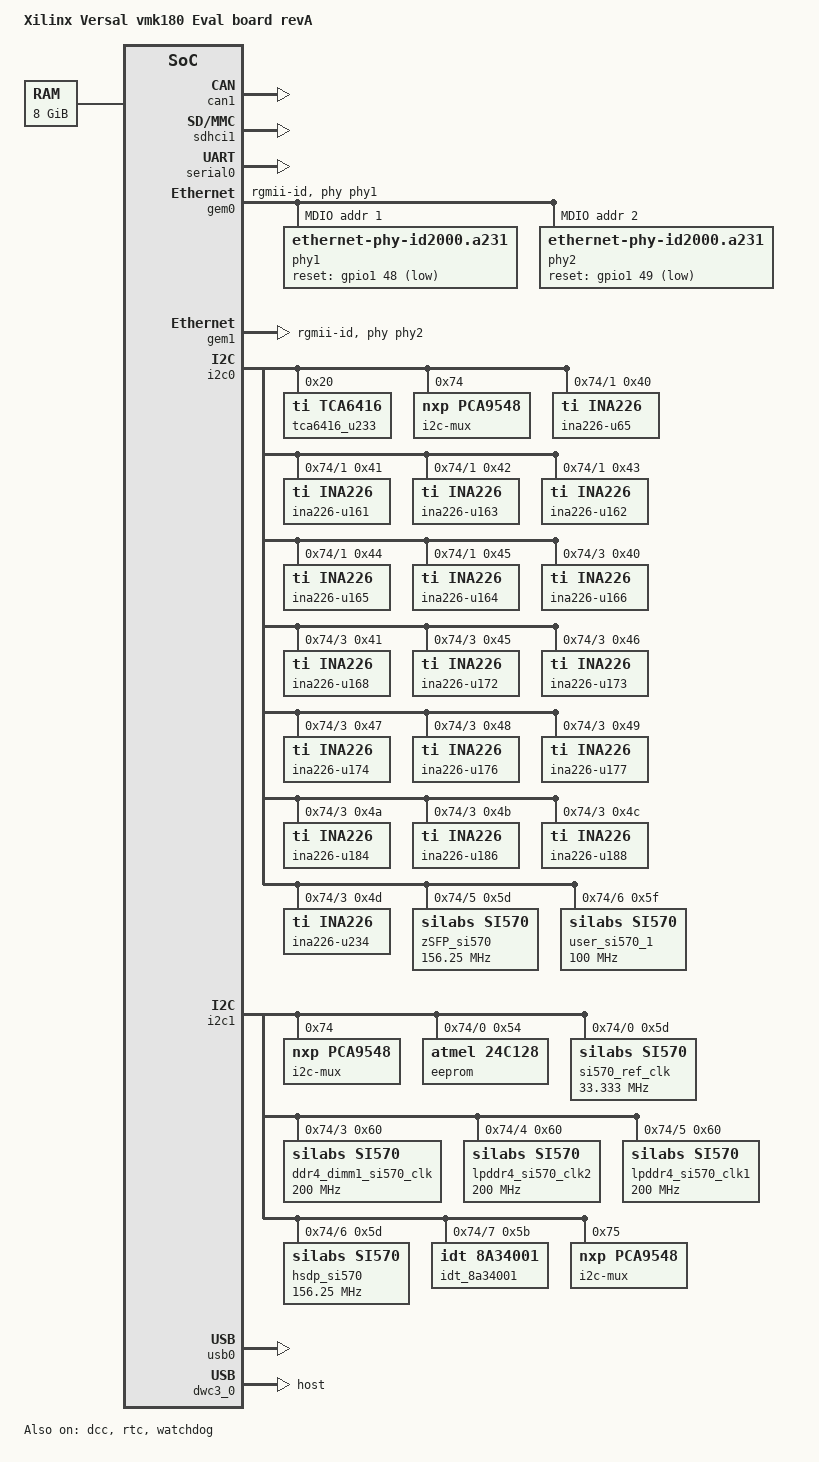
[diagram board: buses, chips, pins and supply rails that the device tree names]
// SPDX-License-Identifier: GPL-2.0
/*
 * dts file for Xilinx Versal vmk180 revA
 *
 * (C) Copyright 2019, Xilinx, Inc.
 *
 * Michal Simek <michal.simek@xilinx.com>
 */

#include <dt-bindings/gpio/gpio.h>
#include "versal.dtsi"
#include "versal-clk.dtsi"

/ {
	compatible = "xlnx,versal-vmk180-revA", "xlnx,versal";
	model = "Xilinx Versal vmk180 Eval board revA";

	memory: memory@0 {
		device_type = "memory";
		reg = <0 0 0 0x80000000>, <0x8 0x0 0x1 0x80000000>;
	};

	chosen {
		bootargs = "console=ttyAMA0 earlycon=pl011,mmio32,0xFF000000,115200n8 clk_ignore_unused";
		stdout-path = "serial0:115200";
	};

	aliases {
		serial0 = &serial0;
		serial2 = &dcc;
		ethernet0 = &gem0;
		ethernet1 = &gem1;
		i2c0 = &i2c0;
		i2c1 = &i2c1;
		mmc0 = &sdhci1;
		spi0 = &qspi;
		usb0 = &usb0;
		rtc0 = &rtc;
	};
};

/* PMC_MIO 0 -12 - configuration header QSPI/OSPI/EMMC */
/* FIXME PMC_MIO37 ZU4_TRIGGER/PMC_MIO37/38 PCIE */

&can1 { /* MIO40-41 */
	status = "okay";
};

&dcc {
	status = "okay";
};

&rtc {
	status = "okay";
};

&gpio0 {
	status = "okay";
};

&gpio1 {
	status = "okay";
};

&watchdog {
	status = "okay";
};

&sdhci1 { /* PMC_MIO26-36/51 */
	status = "okay";
	xlnx,mio-bank = <1>;
	no-1-8-v;
};

&serial0 { /* PMC_MIO42/43 */
	status = "okay";
};

&gem0 { /* PMC_MIO_48, LPD_MIO0-11/24/25 */
	status = "okay";
	phy-handle = <&phy1>; /* u198 */
	phy-mode = "rgmii-id";
	mdio: mdio {
		#address-cells = <1>;
		#size-cells = <0>;

		phy1: ethernet-phy@1 { /* u198 */
			#phy-cells = <1>;
			compatible = "ethernet-phy-id2000.a231";
			reg = <1>;
			ti,rx-internal-delay = <0xb>;
			ti,tx-internal-delay = <0xa>;
			ti,fifo-depth = <1>;
			ti,dp83867-rxctrl-strap-quirk;
			reset-assert-us = <100>;
			reset-deassert-us = <280>;
			reset-gpios = <&gpio1 48 GPIO_ACTIVE_LOW>;
		};
		phy2: ethernet-phy@2 { /* u134 */
			#phy-cells = <1>;
			compatible = "ethernet-phy-id2000.a231";
			reg = <2>;
			ti,rx-internal-delay = <0xb>;
			ti,tx-internal-delay = <0xa>;
			ti,fifo-depth = <1>;
			ti,dp83867-rxctrl-strap-quirk;
			reset-assert-us = <100>;
			reset-deassert-us = <280>;
			reset-gpios = <&gpio1 49 GPIO_ACTIVE_LOW>;
		};
	};
};

&gem1 { /* PMC_MIO_49, LPD_MIO12-23 */
	status = "okay";
	phy-handle = <&phy2>; /* u134 */
	phy-mode = "rgmii-id";
};

&i2c0 { /* PMC_MIO46/47 */
	status = "okay";

	tca6416_u233: gpio@20 {
		compatible = "ti,tca6416";
		reg = <0x20>;
		gpio-controller; /* IRQ not connected */
		#gpio-cells = <2>;
		gpio-line-names = "MAX6643_OT_B", "MAX6643_FANFAIL_B", "", "", "PMBUS2_INA226_ALERT", "", "",
				"MAX6643_FULLSPD", "FMCP1_FMC_PRSNT_M2C_B", "FMCP2_FMC_PRSNT_M2C_B",
				"FMCP1_FMCP_PRSNT_M2C_B", "FMCP2_FMCP_PRSNT_M2C_B", "VCCINT_VRHOT_B",
				"8A34001_EXP_RST_B", "PMBUS_ALERT", "PMBUS1_INA226_ALERT";
	};

	i2c-mux@74 {
		compatible = "nxp,pca9548"; /* u33 */
		#address-cells = <1>;
		#size-cells = <0>;
		reg = <0x74>;

		i2c@0 {
			#address-cells = <1>;
			#size-cells = <0>;
			reg = <0>;
			/* PMBUS */
		};
		i2c@1 {
			#address-cells = <1>;
			#size-cells = <0>;
			reg = <1>;
			/* PMBUS1_INA226 */
			u65: ina226@40 { /* u65 */
				compatible = "ti,ina226";
				#io-channel-cells = <1>;
				label = "ina226-u65";
				reg = <0x40>;
				shunt-resistor = <500>; /* R440 */
			};
			u161: ina226@41 { /* u161 */
				compatible = "ti,ina226";
				#io-channel-cells = <1>;
				label = "ina226-u161";
				reg = <0x41>;
				shunt-resistor = <500>; /* R1702 */
			};
			u163: ina226@42 { /* u163 */
				compatible = "ti,ina226";
				#io-channel-cells = <1>;
				label = "ina226-u163";
				reg = <0x42>;
				shunt-resistor = <5000>; /* R1214 */
			};
			u162: ina226@43 { /* u162 */
				compatible = "ti,ina226";
				#io-channel-cells = <1>;
				label = "ina226-u162";
				reg = <0x43>;
				shunt-resistor = <5000>; /* R1221 */
			};
			u165: ina226@44 { /* u165 */
				compatible = "ti,ina226";
				#io-channel-cells = <1>;
				label = "ina226-u165";
				reg = <0x44>;
				shunt-resistor = <5000>; /* R1216 */
			};
			u164: ina226@45 { /* u164 */
				compatible = "ti,ina226";
				#io-channel-cells = <1>;
				label = "ina226-u164";
				reg = <0x45>;
				shunt-resistor = <5000>; /* R1219 */
			};
		};
		/* 2 unconnected */
		i2c@3 {
			#address-cells = <1>;
			#size-cells = <0>;
			reg = <3>;
			/* PMBUS2_INA226 */
			u166: ina226@40 { /* u166 */
				compatible = "ti,ina226";
				#io-channel-cells = <1>;
				label = "ina226-u166";
				reg = <0x40>;
				shunt-resistor = <5000>; /* R382 */
			};
			u168: ina226@41 { /* u168 */
				compatible = "ti,ina226";
				#io-channel-cells = <1>;
				label = "ina226-u168";
				reg = <0x41>;
				shunt-resistor = <5000>; /* R1246 */
			};
			u172: ina226@45 { /* u172 */
				compatible = "ti,ina226";
				#io-channel-cells = <1>;
				label = "ina226-u172";
				reg = <0x45>;
				shunt-resistor = <5000>; /* R1229 */
			};
			u173: ina226@46 { /* u173 */
				compatible = "ti,ina226";
				#io-channel-cells = <1>;
				label = "ina226-u173";
				reg = <0x46>;
				shunt-resistor = <5000>; /* R400 */
			};
			u174: ina226@47 { /* u174 */
				compatible = "ti,ina226";
				#io-channel-cells = <1>;
				label = "ina226-u174";
				reg = <0x47>;
				shunt-resistor = <5000>; /* R1232 */
			};
			u176: ina226@48 { /* u176 */
				compatible = "ti,ina226";
				#io-channel-cells = <1>;
				label = "ina226-u176";
				reg = <0x48>;
				shunt-resistor = <5000>; /* R1275 */
			};
			u177: ina226@49 { /* u177 */
				compatible = "ti,ina226";
				#io-channel-cells = <1>;
				label = "ina226-u177";
				reg = <0x49>;
				shunt-resistor = <5000>; /* R1286 */
			};
			u184: ina226@4a { /* u184 */
				compatible = "ti,ina226";
				#io-channel-cells = <1>;
				label = "ina226-u184";
				reg = <0x4a>;
				shunt-resistor = <2000>; /* R1350 */
			};
			u186: ina226@4b { /* u186 */
				compatible = "ti,ina226";
				#io-channel-cells = <1>;
				label = "ina226-u186";
				reg = <0x4b>;
				shunt-resistor = <2000>; /* R1367 */
			};
			u188: ina226@4c { /* u188 */
				compatible = "ti,ina226";
				#io-channel-cells = <1>;
				label = "ina226-u188";
				reg = <0x4c>;
				shunt-resistor = <2000>; /* R1384 */
			};
			u234: ina226@4d { /* u234 */
				compatible = "ti,ina226";
				#io-channel-cells = <1>;
				label = "ina226-u234";
				reg = <0x4d>;
				shunt-resistor = <5000>; /* R1679 */
			};
		};
		/* 4 unconnected */
		i2c@5 {
			#address-cells = <1>;
			#size-cells = <0>;
			reg = <5>;
			/* zSFP_SI570 */
			zSFP_si570: clock-generator@5d { /* zSFP SI570 - u192 */
				#clock-cells = <0>;
				compatible = "silabs,si570";
				reg = <0x5d>;
				temperature-stability = <50>;
				factory-fout = <156250000>;
				clock-frequency = <156250000>;
				clock-output-names = "zSFP_si570";
				silabs,skip-recall; /* Do not reset */
			};
		};
		i2c@6 {
			#address-cells = <1>;
			#size-cells = <0>;
			reg = <6>;
			/* USER_SI570_1_CLOCK */
			user_si570_1: clock-generator@5f { /* USER SI570 - u205 */
				#clock-cells = <0>;
				compatible = "silabs,si570";
				reg = <0x5f>;
				temperature-stability = <50>;
				factory-fout = <100000000>;
				clock-frequency = <100000000>;
				clock-output-names = "user_si570_1";
				silabs,skip-recall; /* Do not reset */
			};
		};
		/* 7 unconnected */
	};
};

&i2c1 { /* PMC_MIO44/45 */
	status = "okay";

	i2c-mux@74 { /* u35 */
		compatible = "nxp,pca9548";
		#address-cells = <1>;
		#size-cells = <0>;
		reg = <0x74>;
		i2c@0 {
			#address-cells = <1>;
			#size-cells = <0>;
			reg = <0>;
			eeprom: eeprom@54 { /* u34 */
				compatible = "atmel,24c128";
				reg = <0x54>;
			};
			/* SI570_REF_CLK */
			si570_ref_clk: clock-generator@5d { /* 33.333 MHz SI570 - u32 */
				#clock-cells = <0>;
				compatible = "silabs,si570";
				reg = <0x5d>;
				temperature-stability = <50>;
				factory-fout = <33333333>;
				clock-frequency = <33333333>;
				clock-output-names = "si570_ref_clk";
				silabs,skip-recall; /* Do not reset */
			};
		};
		i2c@1 {
			#address-cells = <1>;
			#size-cells = <0>;
			reg = <1>;
			/* FMCP1_IIC */
		};
		i2c@2 {
			#address-cells = <1>;
			#size-cells = <0>;
			reg = <2>;
			/* FMCP2_IIC */
		};
		i2c@3 {
			#address-cells = <1>;
			#size-cells = <0>;
			reg = <3>;
			/* DDR4_DIMM1_SMA_CLK */
			ddr4_dimm1_si570_clk: clock-generator@60 { /* SI570 - u2 */
				#clock-cells = <0>;
				compatible = "silabs,si570";
				reg = <0x60>;
				temperature-stability = <50>;
				factory-fout = <200000000>;
				clock-frequency = <200000000>;
				clock-output-names = "ddr4_dimm1_si570_clk";
				silabs,skip-recall; /* Do not reset */
			};
		};
		i2c@4 {
			#address-cells = <1>;
			#size-cells = <0>;
			reg = <4>;
			lpddr4_si570_clk2: clock-generator@60 { /* SI570 - u3 */
				compatible = "silabs,si570";
				reg = <0x60>;
				#clock-cells = <0>;
				temperature-stability = <50>;
				factory-fout = <200000000>;
				clock-frequency = <200000000>;
				clock-output-names = "lpddr4_si570_clk2";
				silabs,skip-recall; /* Do not reset */
			};
		};
		i2c@5 {
			#address-cells = <1>;
			#size-cells = <0>;
			reg = <5>;
			lpddr4_si570_clk1: clock-generator@60 { /* SI570 - u4 */
				compatible = "silabs,si570";
				reg = <0x60>;
				#clock-cells = <0>;
				temperature-stability = <50>;
				factory-fout = <200000000>;
				clock-frequency = <200000000>;
				clock-output-names = "lpddr4_si570_clk1";
				silabs,skip-recall; /* Do not reset */
			};
		};
		i2c@6 {
			#address-cells = <1>;
			#size-cells = <0>;
			reg = <6>;
			hsdp_si570: clock-generator@5d { /* HSDP SI570 - u5 */
				compatible = "silabs,si570";
				reg = <0x5d>;
				#clock-cells = <0>;
				temperature-stability = <50>;
				factory-fout = <156250000>;
				clock-frequency = <156250000>;
				clock-output-names = "hsdp_si570";
				silabs,skip-recall; /* Do not reset */
			};
		};
		i2c@7 {
			#address-cells = <1>;
			#size-cells = <0>;
			reg = <7>;
			idt_8a34001: phc@5b { /* u219 */
				compatible = "idt,8a34001";
				reg = <0x5b>;
			};
		};
	};

	i2c-mux@75 {
		compatible = "nxp,pca9548"; /* u214 */
		#address-cells = <1>;
		#size-cells = <0>;
		reg = <0x75>;

		i2c@0 {
			#address-cells = <1>;
			#size-cells = <0>;
			reg = <0>;
			/* SFP0_IIC */
		};
		i2c@1 {
			#address-cells = <1>;
			#size-cells = <0>;
			reg = <1>;
			/* SFP1_IIC */
		};
		i2c@2 {
			#address-cells = <1>;
			#size-cells = <0>;
			reg = <2>;
			/* QSPF1_IIC */
		};
		/* 3 - 7 unconnected */
	};
};

&usb0 { /* PMC_MIO13_500 - PMC_MIO25 USB 2.0 */
	status = "okay";
};

&dwc3_0 { /* USB 2.0 host */
	status = "okay";
	dr_mode = "host";
	maximum-speed = "high-speed";
	snps,dis_u2_susphy_quirk;
	snps,dis_u3_susphy_quirk;
	snps,usb3_lpm_capable;
};

&lpd_dma_chan0 {
	status = "okay";
};

&lpd_dma_chan1 {
	status = "okay";
};

&lpd_dma_chan2 {
	status = "okay";
};

&lpd_dma_chan3 {
	status = "okay";
};

&lpd_dma_chan4 {
	status = "okay";
};

&lpd_dma_chan5 {
	status = "okay";
};

&lpd_dma_chan6 {
	status = "okay";
};

&lpd_dma_chan7 {
	status = "okay";
};
